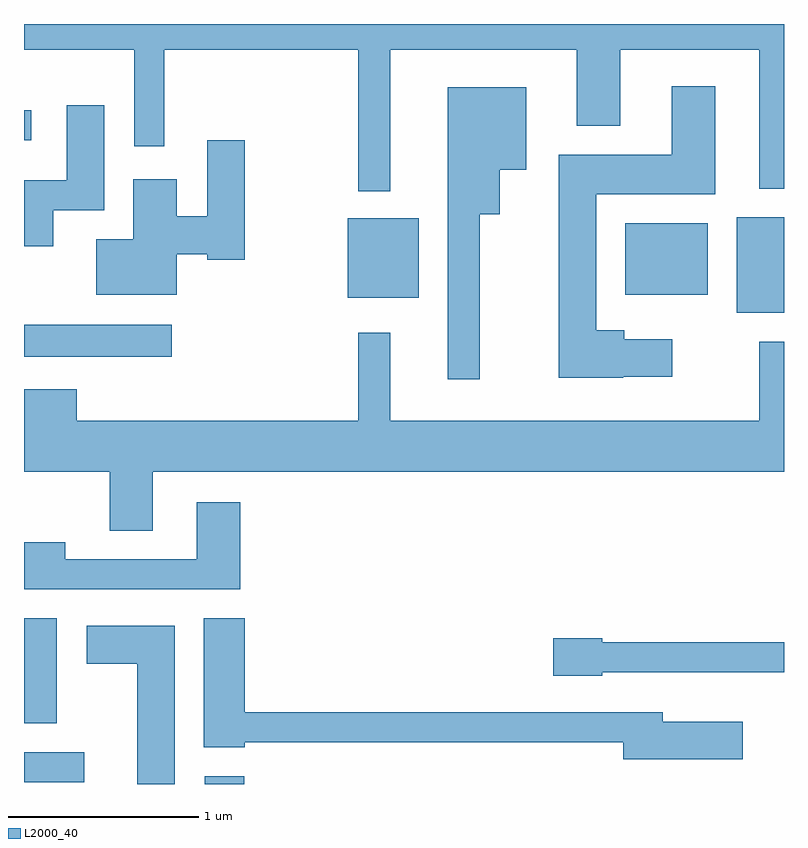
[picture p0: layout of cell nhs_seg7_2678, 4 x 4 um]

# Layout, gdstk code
import gdstk
lib = gdstk.Library(unit=1e-6, precision=1e-09)
def R(c, l, rs):  # rectangles x0, y0, x1, y1
    for r in rs: c.add(gdstk.rectangle(r[:2], r[2:], *l))
def P(c, l, *ps):  # polygons
    for p in ps: c.add(gdstk.Polygon(p, *l))
L2000_40 = (2000, 40)

nhs_seg7_2678 = lib.new_cell('nhs_seg7_2678')
R(nhs_seg7_2678, L2000_40, [(268.561,1688.252,268.769,1688.294), (267.611,1688.261,267.928,1688.419), (267.611,1688.571,267.784,1689.124), (267.611,1690.501,268.388,1690.669), (271.361,1690.731,271.611,1691.234), (269.316,1690.811,269.689,1691.229), (270.776,1690.826,271.209,1691.204), (267.611,1691.641,267.648,1691.799)])
P(nhs_seg7_2678, L2000_40, [(269.539,1692.116),(270.521,1692.116),(270.521,1691.716),(270.749,1691.716),(270.749,1692.116),(271.481,1692.116),(271.481,1691.386),(271.611,1691.386),(271.611,1692.252),(267.611,1692.252),(267.611,1692.116),(268.191,1692.116),(268.191,1691.608),(268.349,1691.608),(268.349,1692.116),(269.371,1692.116),(269.371,1691.373),(269.539,1691.373)],
  [(270.765,1690.396),(271.024,1690.396),(271.024,1690.594),(270.769,1690.594),(270.769,1690.639),(270.624,1690.639),(270.624,1691.356),(271.249,1691.356),(271.249,1691.924),(271.021,1691.924),(271.021,1691.564),(270.426,1691.564),(270.426,1690.391),(270.765,1690.391)],
  [(270.009,1691.251),(270.114,1691.251),(270.114,1691.486),(270.254,1691.486),(270.254,1691.919),(269.841,1691.919),(269.841,1690.383),(270.009,1690.383)],
  [(267.764,1691.271),(268.034,1691.271),(268.034,1691.824),(267.836,1691.824),(267.836,1691.429),(267.611,1691.429),(267.611,1691.083),(267.764,1691.083)],
  [(268.414,1691.041),(268.576,1691.041),(268.576,1691.011),(268.774,1691.011),(268.774,1691.639),(268.576,1691.639),(268.576,1691.239),(268.414,1691.239),(268.414,1691.434),(268.186,1691.434),(268.186,1691.119),(267.991,1691.119),(267.991,1690.826),(268.414,1690.826)],
  [(268.289,1689.896),(271.611,1689.896),(271.611,1690.579),(271.481,1690.579),(271.481,1690.164),(269.539,1690.164),(269.539,1690.628),(269.371,1690.628),(269.371,1690.164),(267.889,1690.164),(267.889,1690.329),(267.611,1690.329),(267.611,1689.896),(268.061,1689.896),(268.061,1689.586),(268.289,1689.586)],
  [(268.749,1689.734),(268.521,1689.734),(268.521,1689.434),(267.829,1689.434),(267.829,1689.524),(267.611,1689.524),(267.611,1689.276),(268.749,1689.276)],
  [(271.394,1688.579),(270.974,1688.579),(270.974,1688.629),(268.774,1688.629),(268.774,1689.124),(268.556,1689.124),(268.556,1688.446),(268.774,1688.446),(268.774,1688.471),(270.766,1688.471),(270.766,1688.381),(271.394,1688.381)],
  [(268.404,1689.084),(267.941,1689.084),(267.941,1688.886),(268.206,1688.886),(268.206,1688.252),(268.404,1688.252)],
  [(270.654,1688.841),(271.611,1688.841),(271.611,1688.999),(270.654,1688.999),(270.654,1689.019),(270.396,1689.019),(270.396,1688.821),(270.654,1688.821)])

lib.write_gds('nhs_seg7_2678.gds')
